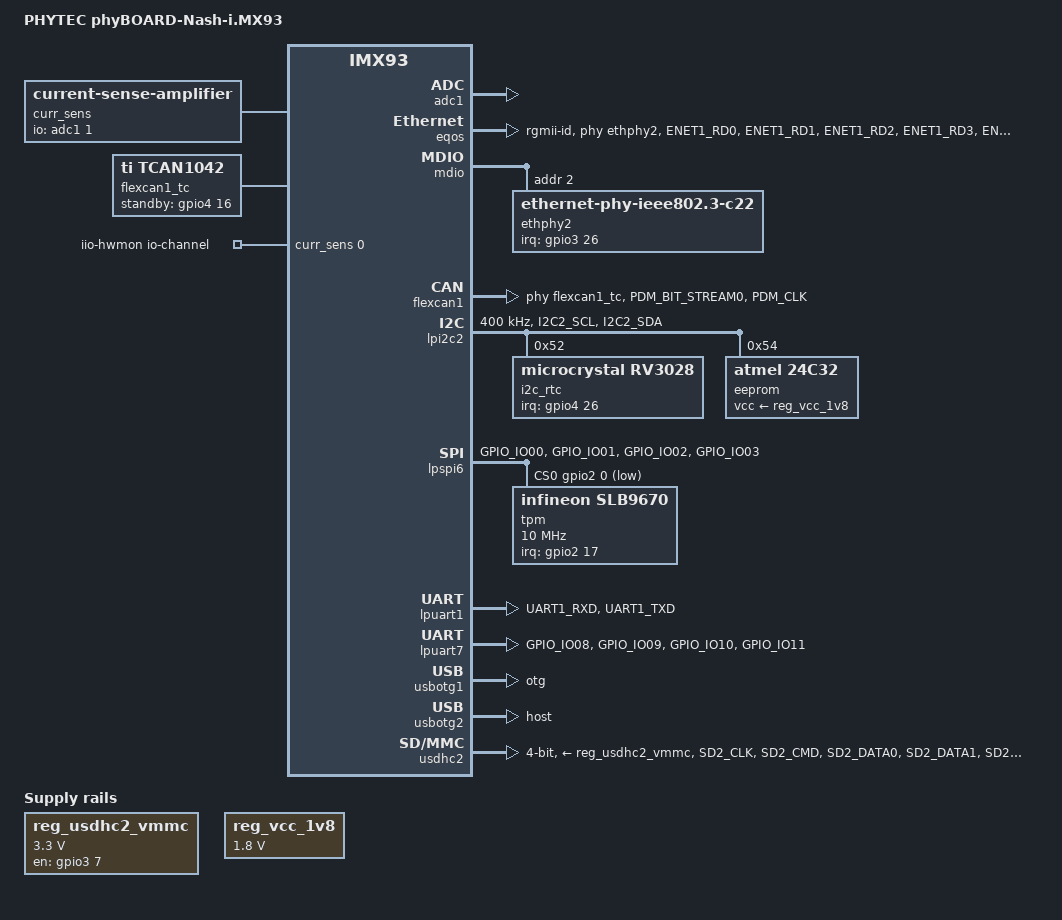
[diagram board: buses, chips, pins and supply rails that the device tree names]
// SPDX-License-Identifier: (GPL-2.0+ OR MIT)
/*
 * Copyright (C) 2025 PHYTEC Messtechnik GmbH
 * Author: Primoz Fiser <primoz.fiser@norik.com>
 *
 * Product homepage:
 * https://www.phytec.eu/en/produkte/development-kits/phyboard-nash/
 */

/dts-v1/;

#include <dt-bindings/net/ti-dp83867.h>
#include "imx93-phycore-som.dtsi"

/ {
	model = "PHYTEC phyBOARD-Nash-i.MX93";
	compatible = "phytec,imx93-phyboard-nash", "phytec,imx93-phycore-som",
		     "fsl,imx93";

	aliases {
		ethernet1 = &eqos;
		gpio0 = &gpio1;
		gpio1 = &gpio2;
		gpio2 = &gpio3;
		gpio3 = &gpio4;
		i2c0 = &lpi2c1;
		i2c1 = &lpi2c2;
		mmc0 = &usdhc1;
		mmc1 = &usdhc2;
		rtc0 = &i2c_rtc;
		rtc1 = &bbnsm_rtc;
		serial0 = &lpuart1;
		serial1 = &lpuart2;
		serial2 = &lpuart3;
		serial3 = &lpuart4;
		serial4 = &lpuart5;
		serial5 = &lpuart6;
		serial6 = &lpuart7;
		spi0 = &lpspi1;
		spi1 = &lpspi2;
		spi2 = &lpspi3;
		spi3 = &lpspi4;
		spi4 = &lpspi5;
		spi5 = &lpspi6;
	};

	chosen {
		stdout-path = &lpuart1;
	};

	curr_sens: current-sense {
		compatible = "current-sense-amplifier";
		#io-channel-cells = <0>;
		io-channels = <&adc1 1>;
		sense-gain-div = <2>;
		sense-gain-mult = <50>;
		sense-resistor-micro-ohms = <35000>;
	};

	flexcan1_tc: can-phy0 {
		compatible = "ti,tcan1042";
		#phy-cells = <0>;
		max-bitrate = <8000000>;
		pinctrl-names = "default";
		pinctrl-0 = <&pinctrl_flexcan1_tc>;
		standby-gpios = <&gpio4 16 GPIO_ACTIVE_HIGH>;
	};

	iio-hwmon {
		compatible = "iio-hwmon";
		io-channels = <&curr_sens 0>;
	};

	reg_usdhc2_vmmc: regulator-usdhc2 {
		compatible = "regulator-fixed";
		gpio = <&gpio3 7 GPIO_ACTIVE_HIGH>;
		enable-active-high;
		pinctrl-names = "default";
		pinctrl-0 = <&pinctrl_reg_usdhc2_vmmc>;
		regulator-name = "VCC_SD";
		regulator-max-microvolt = <3300000>;
		regulator-min-microvolt = <3300000>;
	};

	reg_vcc_1v8: regulator-vcc-1v8 {
		compatible = "regulator-fixed";
		regulator-name = "VCC1V8";
		regulator-max-microvolt = <1800000>;
		regulator-min-microvolt = <1800000>;
	};
};

/* ADC */
&adc1 {
	status = "okay";
};

/* Ethernet */
&eqos {
	pinctrl-names = "default";
	pinctrl-0 = <&pinctrl_eqos>;
	phy-mode = "rgmii-id";
	phy-handle = <&ethphy2>;
	status = "okay";
};

&mdio {
	ethphy2: ethernet-phy@2 {
		compatible = "ethernet-phy-ieee802.3-c22";
		reg = <2>;
		interrupt-parent = <&gpio3>;
		interrupts = <26 IRQ_TYPE_LEVEL_LOW>;
		ti,clk-output-sel = <DP83867_CLK_O_SEL_OFF>;
		ti,fifo-depth = <DP83867_PHYCR_FIFO_DEPTH_4_B_NIB>;
		ti,rx-internal-delay = <DP83867_RGMIIDCTL_1_75_NS>;
		ti,tx-internal-delay = <DP83867_RGMIIDCTL_2_00_NS>;
	};
};

/* CAN */
&flexcan1 {
	pinctrl-names = "default";
	pinctrl-0 = <&pinctrl_flexcan1>;
	phys = <&flexcan1_tc>;
	status = "okay";
};

/* I2C2 */
&lpi2c2 {
	clock-frequency = <400000>;
	pinctrl-names = "default";
	pinctrl-0 = <&pinctrl_lpi2c2>;
	status = "okay";

	/* RTC */
	i2c_rtc: rtc@52 {
		compatible = "microcrystal,rv3028";
		reg = <0x52>;
		interrupt-parent = <&gpio4>;
		interrupts = <26 IRQ_TYPE_LEVEL_LOW>;
		pinctrl-names = "default";
		pinctrl-0 = <&pinctrl_rtc>;
		trickle-resistor-ohms = <3000>;
		wakeup-source;
	};

	/* EEPROM */
	eeprom@54 {
		compatible = "atmel,24c32";
		reg = <0x54>;
		pagesize = <32>;
		vcc-supply = <&reg_vcc_1v8>;
	};
};

/* SPI6 */
&lpspi6 {
	pinctrl-names = "default";
	pinctrl-0 = <&pinctrl_lpspi6>;
	cs-gpios = <&gpio2 0 GPIO_ACTIVE_LOW>;
	status = "okay";

	/* TPM */
	tpm@0 {
		compatible = "infineon,slb9670", "tcg,tpm_tis-spi";
		reg = <0>;
		interrupt-parent = <&gpio2>;
		interrupts = <17 IRQ_TYPE_LEVEL_LOW>;
		pinctrl-names = "default";
		pinctrl-0 = <&pinctrl_tpm>;
		spi-max-frequency = <10000000>;
	};
};

/* Console */
&lpuart1 {
	pinctrl-names = "default";
	pinctrl-0 = <&pinctrl_uart1>;
	status = "okay";
};

/* RS-232/RS-485 */
&lpuart7 {
	pinctrl-names = "default";
	pinctrl-0 = <&pinctrl_uart7>;
	status = "okay";
};

/* USB */
&usbotg1 {
	disable-over-current;
	dr_mode = "otg";
	status = "okay";
};

&usbotg2 {
	disable-over-current;
	dr_mode = "host";
	status = "okay";
};

/* SD-Card */
&usdhc2 {
	pinctrl-names = "default", "state_100mhz", "state_200mhz";
	pinctrl-0 = <&pinctrl_usdhc2_default>, <&pinctrl_usdhc2_cd>;
	pinctrl-1 = <&pinctrl_usdhc2_100mhz>, <&pinctrl_usdhc2_cd>;
	pinctrl-2 = <&pinctrl_usdhc2_200mhz>, <&pinctrl_usdhc2_cd>;
	cd-gpios = <&gpio3 0 GPIO_ACTIVE_LOW>;
	vmmc-supply = <&reg_usdhc2_vmmc>;
	bus-width = <4>;
	disable-wp;
	no-mmc;
	no-sdio;
	status = "okay";
};

&iomuxc {
	pinctrl_eqos: eqosgrp {
		fsl,pins = <
			MX93_PAD_ENET1_RD0__ENET_QOS_RGMII_RD0	0x57e
			MX93_PAD_ENET1_RD1__ENET_QOS_RGMII_RD1	0x57e
			MX93_PAD_ENET1_RD2__ENET_QOS_RGMII_RD2	0x57e
			MX93_PAD_ENET1_RD3__ENET_QOS_RGMII_RD3	0x57e
			MX93_PAD_ENET1_RXC__CCM_ENET_QOS_CLOCK_GENERATE_RX_CLK	0x5fe
			MX93_PAD_ENET1_RX_CTL__ENET_QOS_RGMII_RX_CTL	0x57e
			MX93_PAD_ENET1_TD0__ENET_QOS_RGMII_TD0	0x51e
			MX93_PAD_ENET1_TD1__ENET_QOS_RGMII_TD1	0x51e
			MX93_PAD_ENET1_TD2__ENET_QOS_RGMII_TD2	0x50e
			MX93_PAD_ENET1_TD3__ENET_QOS_RGMII_TD3	0x50e
			MX93_PAD_ENET1_TXC__CCM_ENET_QOS_CLOCK_GENERATE_TX_CLK	0x58e
			MX93_PAD_ENET1_TX_CTL__ENET_QOS_RGMII_TX_CTL	0x50e
			MX93_PAD_CCM_CLKO1__GPIO3_IO26		0x1002
		>;
	};

	pinctrl_flexcan1: flexcan1grp {
		fsl,pins = <
			MX93_PAD_PDM_BIT_STREAM0__CAN1_RX	0x139e
			MX93_PAD_PDM_CLK__CAN1_TX		0x1382
		>;
	};

	pinctrl_flexcan1_tc: flexcan1tcgrp {
		fsl,pins = <
			MX93_PAD_ENET2_TD3__GPIO4_IO16		0x31e
		>;
	};

	pinctrl_lpi2c2: lpi2c2grp {
		fsl,pins = <
			MX93_PAD_I2C2_SCL__LPI2C2_SCL		0x40000b9e
			MX93_PAD_I2C2_SDA__LPI2C2_SDA		0x40000b9e
		>;
	};

	pinctrl_lpspi6: lpspi6grp {
		fsl,pins = <
			MX93_PAD_GPIO_IO00__GPIO2_IO00		0x386
			MX93_PAD_GPIO_IO01__LPSPI6_SIN		0x3fe
			MX93_PAD_GPIO_IO02__LPSPI6_SOUT		0x386
			MX93_PAD_GPIO_IO03__LPSPI6_SCK		0x386
		>;
	};

	pinctrl_reg_usdhc2_vmmc: regusdhc2vmmcgrp {
		fsl,pins = <
			MX93_PAD_SD2_RESET_B__GPIO3_IO07	0x31e
		>;
	};

	pinctrl_rtc: rtcgrp {
		fsl,pins = <
			MX93_PAD_ENET2_RD2__GPIO4_IO26		0x31e
		>;
	};

	pinctrl_tpm: tpmgrp {
		fsl,pins = <
			MX93_PAD_GPIO_IO17__GPIO2_IO17		0x31e
		>;
	};

	pinctrl_uart1: uart1grp {
		fsl,pins = <
			MX93_PAD_UART1_RXD__LPUART1_RX		0x31e
			MX93_PAD_UART1_TXD__LPUART1_TX		0x30e
		>;
	};

	pinctrl_uart7: uart7grp {
		fsl,pins = <
			MX93_PAD_GPIO_IO08__LPUART7_TX		0x30e
			MX93_PAD_GPIO_IO09__LPUART7_RX		0x31e
			MX93_PAD_GPIO_IO10__LPUART7_CTS_B	0x31e
			MX93_PAD_GPIO_IO11__LPUART7_RTS_B	0x31e
		>;
	};

	pinctrl_usdhc2_cd: usdhc2cdgrp {
		fsl,pins = <
			MX93_PAD_SD2_CD_B__GPIO3_IO00		0x31e
		>;
	};

	/* need to config the SION for data and cmd pad, refer to ERR052021 */
	pinctrl_usdhc2_default: usdhc2grp {
		fsl,pins = <
			MX93_PAD_SD2_CLK__USDHC2_CLK		0x159e
			MX93_PAD_SD2_CMD__USDHC2_CMD		0x4000178e
			MX93_PAD_SD2_DATA0__USDHC2_DATA0	0x40001386
			MX93_PAD_SD2_DATA1__USDHC2_DATA1	0x40001386
			MX93_PAD_SD2_DATA2__USDHC2_DATA2	0x40001386
			MX93_PAD_SD2_DATA3__USDHC2_DATA3	0x4000138e
			MX93_PAD_SD2_VSELECT__USDHC2_VSELECT	0x51e
		>;
	};

	/* need to config the SION for data and cmd pad, refer to ERR052021 */
	pinctrl_usdhc2_100mhz: usdhc2-100mhzgrp {
		fsl,pins = <
			MX93_PAD_SD2_CLK__USDHC2_CLK		0x159e
			MX93_PAD_SD2_CMD__USDHC2_CMD		0x4000139e
			MX93_PAD_SD2_DATA0__USDHC2_DATA0	0x4000139e
			MX93_PAD_SD2_DATA1__USDHC2_DATA1	0x4000139e
			MX93_PAD_SD2_DATA2__USDHC2_DATA2	0x4000139e
			MX93_PAD_SD2_DATA3__USDHC2_DATA3	0x400013be
			MX93_PAD_SD2_VSELECT__USDHC2_VSELECT	0x51e
		>;
	};

	/* need to config the SION for data and cmd pad, refer to ERR052021 */
	pinctrl_usdhc2_200mhz: usdhc2-200mhzgrp {
		fsl,pins = <
			MX93_PAD_SD2_CLK__USDHC2_CLK		0x159e
			MX93_PAD_SD2_CMD__USDHC2_CMD		0x4000139e
			MX93_PAD_SD2_DATA0__USDHC2_DATA0	0x4000139e
			MX93_PAD_SD2_DATA1__USDHC2_DATA1	0x4000139e
			MX93_PAD_SD2_DATA2__USDHC2_DATA2	0x4000139e
			MX93_PAD_SD2_DATA3__USDHC2_DATA3	0x4000139e
			MX93_PAD_SD2_VSELECT__USDHC2_VSELECT	0x51e
		>;
	};
};
